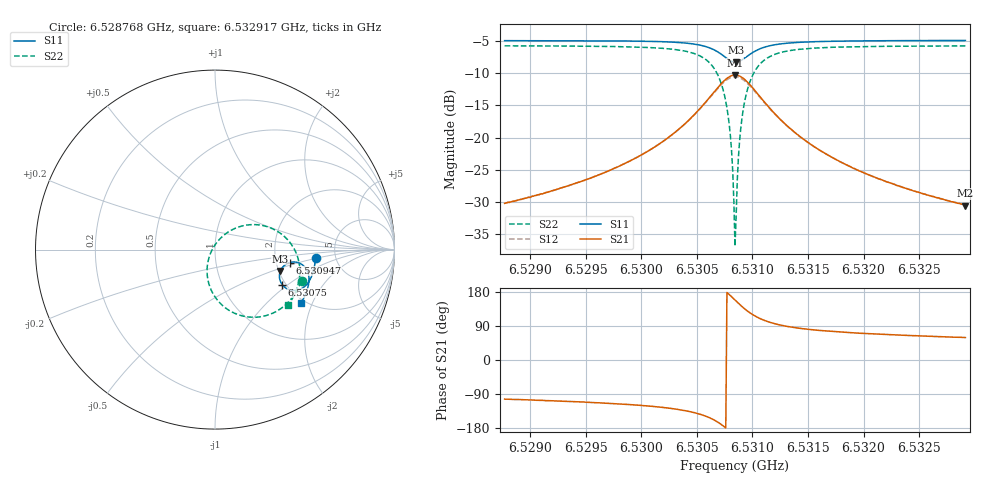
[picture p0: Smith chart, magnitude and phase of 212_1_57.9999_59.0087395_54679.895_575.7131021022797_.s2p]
#  HZ  S  RI  R  50.00
! Rohde & Schwarz Vector Network Analyzer
! Rohde-Schwarz,ZNB20-2Port,1311601062101988,3.16
! Created: UTC 3/21/2024, 12:59:47 AM
! freq[Hz]  re:S11  im:S11  re:S21  im:S21  re:S12  im:S12  re:S22  im:S22
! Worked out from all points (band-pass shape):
!   401 points, 6.528768 GHz to 6.532917 GHz, reference 50 ohm
!   highest |S21| = -10.32 dB at 6.530843 GHz (marker M1); lowest = -30.5 dB at 6.532917 GHz (marker M2)
!   |S21| within 3 dB of the highest: 6.530636 GHz to 6.531051 GHz (414.2 kHz wide, 0.00634 % of centre)
!   lowest |S11| = -8.3 dB at 6.530853 GHz (marker M3), VSWR 2.24, Z = 102 - j28.3 ohm
!   |S11| at or under -10 dB: nowhere
!   |S22| runs from -36.8 to -5.8 dB; largest |S21 - S12| = 0.012
!   S11 on the Smith chart (normalised r, x): 6.528768 GHz: 3.49, -0.50; 6.53075 GHz: 1.91, -0.91; 6.530947 GHz: 2.37, -0.42; 6.532917 GHz: 1.91, -1.66
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6.5287683e9  0.5603 -0.049  -0.0071 -0.0301  -0.00765 -0.03  0.4819 -0.175
6.5294633e9  0.5511 -0.1069  -0.0165 -0.0429  -0.0173 -0.0426  0.4505 -0.2387
6.5301583e9  0.5242 -0.1764  -0.0499 -0.0737  -0.0519 -0.0722  0.3685 -0.3276
6.5303968e9  0.4979 -0.2068  -0.0891 -0.0931  -0.092 -0.0899  0.2877 -0.3667
6.5305732e9  0.4545 -0.2269  -0.1568 -0.0997  -0.1593 -0.093  0.1626 -0.3719
6.5306769e9  0.4098 -0.2224  -0.2261 -0.0734  -0.2253 -0.0638  0.0465 -0.3153
6.5307495e9  0.3748 -0.1956  -0.2769 -0.0154  -0.2714 -0.00524  -0.0284 -0.2079
6.530791e9  0.3615 -0.1679  -0.2928 0.0374  -0.2841 0.0455  -0.0444 -0.118
6.5308118e9  0.359 -0.1517  -0.2935 0.0671  -0.2833 0.0737  -0.0395 -0.0689
6.5308325e9  0.36 -0.1348  -0.2882 0.0974  -0.2774 0.1022  -0.025 -0.0204
6.5308429e9  0.362 -0.1265  -0.2833 0.1122  -0.2723 0.1158  -0.0141 0.0028
6.5308533e9  0.3647 -0.1184  -0.2768 0.1263  -0.2658 0.1291  -0.00104 0.0247
6.5308636e9  0.3683 -0.1107  -0.2692 0.1398  -0.2583 0.1416  0.0141 0.0451
6.5308844e9  0.3777 -0.0969  -0.2503 0.1637  -0.2402 0.1636  0.0495 0.0804
6.5308947e9  0.3834 -0.0908  -0.2395 0.1739  -0.2298 0.1732  0.0691 0.0952
6.5309155e9  0.3959 -0.0812  -0.2162 0.1905  -0.2073 0.1886  0.1107 0.1179
6.5309466e9  0.4161 -0.072  -0.1793 0.2057  -0.1726 0.2029  0.1738 0.1363
6.5310192e9  0.4589 -0.0715  -0.1047 0.208  -0.101 0.2049  0.2993 0.1247
6.531123e9  0.4963 -0.0933  -0.0403 0.1774  -0.0385 0.1756  0.403 0.0569
6.5315379e9  0.5238 -0.1725  0.0154 0.0857  0.0164 0.0854  0.4728 -0.135
6.5322329e9  0.5062 -0.2442  0.0176 0.041  0.0183 0.0409  0.4431 -0.2502
6.5329175e9  0.4807 -0.2959  0.0153 0.0256  0.0159 0.0255  0.4078 -0.3101
